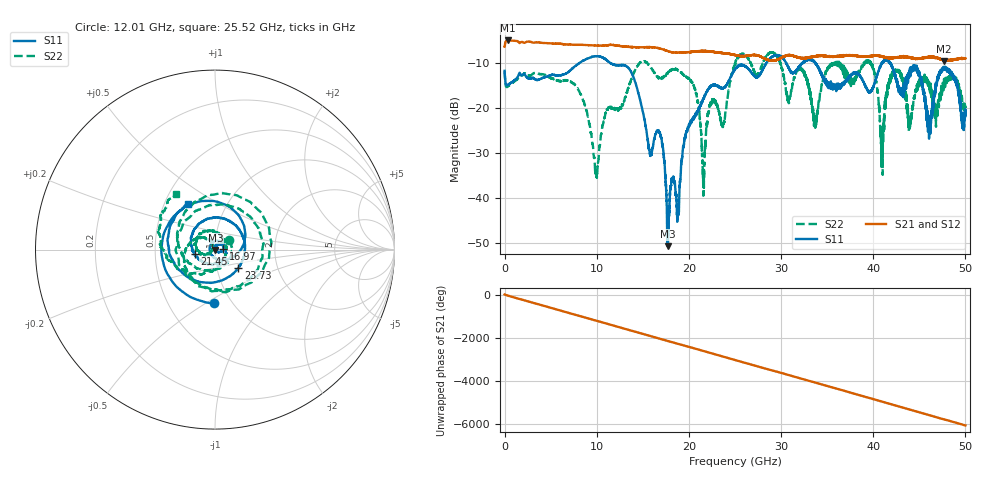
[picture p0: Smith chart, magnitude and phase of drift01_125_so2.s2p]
!Created with skrf (http://scikit-rf.org).
# Hz S RI R 50.0
!freq ReS11 ImS11 ReS21 ImS21 ReS12 ImS12 ReS22 ImS22
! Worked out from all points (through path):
!   10001 points, 300 kHz to 50 GHz, reference 50 ohm
!   highest |S21| = -5.05 dB at 320.3 MHz (marker M1); lowest = -9.6 dB at 47.67 GHz (marker M2)
!   group delay of S21, straight-line fit = 336 ps
!   lowest |S11| = -50.7 dB at 17.69 GHz (marker M3), VSWR 1.01, Z = 50.2 - j0.164 ohm
!   |S11| at or under -10 dB: start of sweep to 8.155 GHz; 11.44 GHz to 28.42 GHz (16.98 GHz wide, 85.2 % of centre); 41.81 GHz to end of sweep (the widest 3 of 10)
!   |S22| runs from -39.6 to -7.7 dB; largest |S21 - S12| = 0.016
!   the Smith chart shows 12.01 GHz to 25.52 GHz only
!   S11 on the Smith chart (normalised r, x): 12.01 GHz: 0.83, -0.54; 16.97 GHz: 1.10, +0.01; 21.45 GHz: 0.79, -0.04; 23.73 GHz: 1.27, -0.27; 25.52 GHz: 0.66, +0.37
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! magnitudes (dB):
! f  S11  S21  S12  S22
! 300 kHz  -11.8  -6.5  -6.5  -11.8
! 320.3 MHz  -15.0  -5.1  -5.1  -15.4
! 8.335 GHz  -9.8  -6.0  -6.0  -17.5
! 9.94 GHz  -8.5  -6.2  -6.2  -34.4
! 12.01 GHz  -10.5  -6.1  -6.2  -20.4
! 16.67 GHz  -25.0  -6.7  -6.7  -13.3
! 16.97 GHz  -26.6  -6.9  -6.9  -13.3
! 17.69 GHz  -50.7  -7.4  -7.4  -12.3
! 20.5 GHz  -22.2  -7.6  -7.5  -15.0
! 21.45 GHz  -18.7  -7.4  -7.4  -30.6
! 22.47 GHz  -15.1  -7.6  -7.6  -19.2
! 23.73 GHz  -15.6  -7.9  -7.9  -24.1
! 25 GHz  -11.4  -8.3  -8.3  -10.3
! 25.52 GHz  -10.5  -8.5  -8.5  -8.5
! 33.34 GHz  -9.4  -8.7  -8.7  -19.3
! 39.49 GHz  -16.4  -8.6  -8.5  -9.9
! 40.95 GHz  -10.3  -8.6  -8.6  -29.3
! 41.67 GHz  -9.6  -8.8  -9.0  -14.8
! 44.76 GHz  -11.5  -9.1  -9.0  -15.2
! 46.11 GHz  -23.6  -8.8  -8.8  -16.0
! 47.67 GHz  -11.2  -9.6  -9.5  -15.1
! 50 GHz  -21.9  -9.1  -9.1  -20.2
